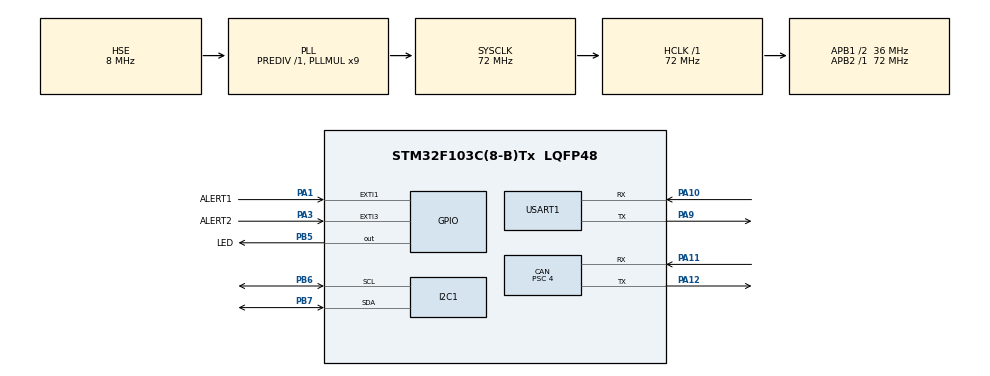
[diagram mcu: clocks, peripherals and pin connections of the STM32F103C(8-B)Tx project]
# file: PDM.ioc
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CAN.BS1=CAN_BS1_13TQ
CAN.BS2=CAN_BS2_4TQ
CAN.CalculateBaudRate=500000
CAN.CalculateTimeBit=2000
CAN.CalculateTimeQuantum=111.11111111111111
CAN.Prescaler=4
I2C1.I2C_Mode=I2C_Fast
Mcu.Family=STM32F1
Mcu.Name=STM32F103C(8-B)Tx
Mcu.Package=LQFP48
NVIC.EXTI1_IRQn=true\:0\:0\:false\:false\:true\:true\:true\:true
NVIC.EXTI3_IRQn=true\:0\:0\:false\:false\:true\:true\:true\:true
NVIC.I2C1_ER_IRQn=true\:0\:0\:false\:false\:true\:true\:true\:true
NVIC.I2C1_EV_IRQn=true\:0\:0\:false\:false\:true\:true\:true\:true
NVIC.PriorityGroup=NVIC_PRIORITYGROUP_4
NVIC.USB_LP_CAN1_RX0_IRQn=true\:0\:0\:false\:false\:true\:true\:true\:true
PA1.GPIO_Label=ALERT1
PA1.GPIO_ModeDefaultEXTI=GPIO_MODE_IT_FALLING
PA1.GPIO_PuPd=GPIO_PULLUP
PA1.Signal=GPXTI1
PA10.Mode=Asynchronous
PA10.Signal=USART1_RX
PA11.Mode=CAN_Activate
PA11.Signal=CAN_RX
PA12.Mode=CAN_Activate
PA12.Signal=CAN_TX
PA13.Mode=Serial_Wire
PA13.Signal=SYS_JTMS-SWDIO
PA14.Mode=Serial_Wire
PA14.Signal=SYS_JTCK-SWCLK
PA3.GPIO_Label=ALERT2
PA3.GPIO_ModeDefaultEXTI=GPIO_MODE_IT_FALLING
PA3.GPIO_PuPd=GPIO_PULLUP
PA3.Signal=GPXTI3
PA9.Mode=Asynchronous
PA9.Signal=USART1_TX
PB5.GPIO_Label=LED
PB5.PinState=GPIO_PIN_SET
PB5.Signal=GPIO_Output
PB6.Mode=I2C
PB6.Signal=I2C1_SCL
PB7.Mode=I2C
PB7.Signal=I2C1_SDA
PD0-OSC_IN.Mode=HSE-External-Oscillator
PD0-OSC_IN.Signal=RCC_OSC_IN
PD1-OSC_OUT.Mode=HSE-External-Oscillator
PD1-OSC_OUT.Signal=RCC_OSC_OUT
ProjectManager.HeapSize=0x200
ProjectManager.StackSize=0x400
ProjectManager.TargetToolchain=STM32CubeIDE
RCC.AHBFreq_Value=72000000
RCC.APB1CLKDivider=RCC_HCLK_DIV2
RCC.APB1Freq_Value=36000000
RCC.APB1TimFreq_Value=72000000
RCC.APB2Freq_Value=72000000
RCC.APB2TimFreq_Value=72000000
RCC.EnbaleCSS=true
RCC.HCLKFreq_Value=72000000
RCC.PLLMUL=RCC_PLL_MUL9
RCC.PLLSourceVirtual=RCC_PLLSOURCE_HSE
RCC.SYSCLKFreq_VALUE=72000000
RCC.SYSCLKSource=RCC_SYSCLKSOURCE_PLLCLK
RCC.USBFreq_Value=72000000
USART1.VirtualMode=VM_ASYNC
board=custom

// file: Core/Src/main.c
/* USER CODE BEGIN Header */
/**
  ******************************************************************************
  * @file           : main.c
  * @brief          : Main program body
  ******************************************************************************
  * @attention
  *
  * Copyright (c) 2026 STMicroelectronics.
  * All rights reserved.
  *
  * This software is licensed under terms that can be found in the LICENSE file
  * in the root directory of this software component.
  * If no LICENSE file comes with this software, it is provided AS-IS.
  *
  ******************************************************************************
  */
/* USER CODE END Header */
#include "main.h"
#include "can.h"
#include "i2c.h"
#include "usart.h"
#include "gpio.h"

/* USER CODE BEGIN Includes */
#include "pdm_monitor.h"
/* USER CODE END Includes */

void SystemClock_Config(void);

int main(void)
{

  /* MCU Configuration--------------------------------------------------------*/

  /* Reset of all peripherals, Initializes the Flash interface and the Systick. */
  HAL_Init();

  /* Configure the system clock */
  SystemClock_Config();

  /* Initialize all configured peripherals */
  MX_GPIO_Init();
  MX_CAN_Init();
  MX_I2C1_Init();
  MX_USART1_UART_Init();
  /* USER CODE BEGIN 2 */
    CAN_FilterTypeDef sFilterConfig;

    // 配置过滤器参数（此处配置为接收所有标准数据帧，以满足硬件要求）
    sFilterConfig.FilterBank = 0;                       // 使用过滤器组0
    sFilterConfig.FilterMode = CAN_FILTERMODE_IDMASK;   // 掩码模式
    sFilterConfig.FilterScale = CAN_FILTERSCALE_32BIT;  // 32位宽
    sFilterConfig.FilterIdHigh = 0x0000;                // ID高位
    sFilterConfig.FilterIdLow = 0x0000;                 // ID低位
    sFilterConfig.FilterMaskIdHigh = 0x0000;            // 掩码高位（全0表示不校验，接收所有）
    sFilterConfig.FilterMaskIdLow = 0x0000;             // 掩码低位
    sFilterConfig.FilterFIFOAssignment = CAN_RX_FIFO0;  // 分配到FIFO0
    sFilterConfig.FilterActivation = ENABLE;            // 激活该过滤器
    sFilterConfig.SlaveStartFilterBank = 14;            // 从属CAN的起始过滤器（单CAN MCU填14即可）

    // 1. 初始化过滤器
    if (HAL_CAN_ConfigFilter(&hcan, &sFilterConfig) != HAL_OK)
    {
      Error_Handler(); // 初始化失败则进入错误处理
    }

    // 2. 启动CAN外设进入正常工作模式
    if (HAL_CAN_Start(&hcan) != HAL_OK)
    {
      Error_Handler();
    }

    // 注意：因为不需要接收数据，所以在此处不需要调用 HAL_CAN_ActivateNotification 开启接收中断。

    PDM_Monitor_Init();
  /* USER CODE END 2 */

  /* Infinite loop */
  while (1)
  {

    /* USER CODE BEGIN 3 */
    PDM_Monitor_Update();
  }
  /* USER CODE END 3 */
}

void SystemClock_Config(void)
{
  RCC_OscInitTypeDef RCC_OscInitStruct = {0};
  RCC_ClkInitTypeDef RCC_ClkInitStruct = {0};

  /** Initializes the RCC Oscillators according to the specified parameters
  * in the RCC_OscInitTypeDef structure.
  */
  RCC_OscInitStruct.OscillatorType = RCC_OSCILLATORTYPE_HSE;
  RCC_OscInitStruct.HSEState = RCC_HSE_ON;
  RCC_OscInitStruct.HSEPredivValue = RCC_HSE_PREDIV_DIV1;
  RCC_OscInitStruct.HSIState = RCC_HSI_ON;
  RCC_OscInitStruct.PLL.PLLState = RCC_PLL_ON;
  RCC_OscInitStruct.PLL.PLLSource = RCC_PLLSOURCE_HSE;
  RCC_OscInitStruct.PLL.PLLMUL = RCC_PLL_MUL9;
  if (HAL_RCC_OscConfig(&RCC_OscInitStruct) != HAL_OK)
  {
    Error_Handler();
  }

  /** Initializes the CPU, AHB and APB buses clocks
  */
  RCC_ClkInitStruct.ClockType = RCC_CLOCKTYPE_HCLK|RCC_CLOCKTYPE_SYSCLK
                              |RCC_CLOCKTYPE_PCLK1|RCC_CLOCKTYPE_PCLK2;
  RCC_ClkInitStruct.SYSCLKSource = RCC_SYSCLKSOURCE_PLLCLK;
  RCC_ClkInitStruct.AHBCLKDivider = RCC_SYSCLK_DIV1;
  RCC_ClkInitStruct.APB1CLKDivider = RCC_HCLK_DIV2;
  RCC_ClkInitStruct.APB2CLKDivider = RCC_HCLK_DIV1;

  if (HAL_RCC_ClockConfig(&RCC_ClkInitStruct, FLASH_LATENCY_2) != HAL_OK)
  {
    Error_Handler();
  }

  /** Enables the Clock Security System
  */
  HAL_RCC_EnableCSS();
}

void Error_Handler(void)
{
  __disable_irq();
  while (1)
  {
  }
}
